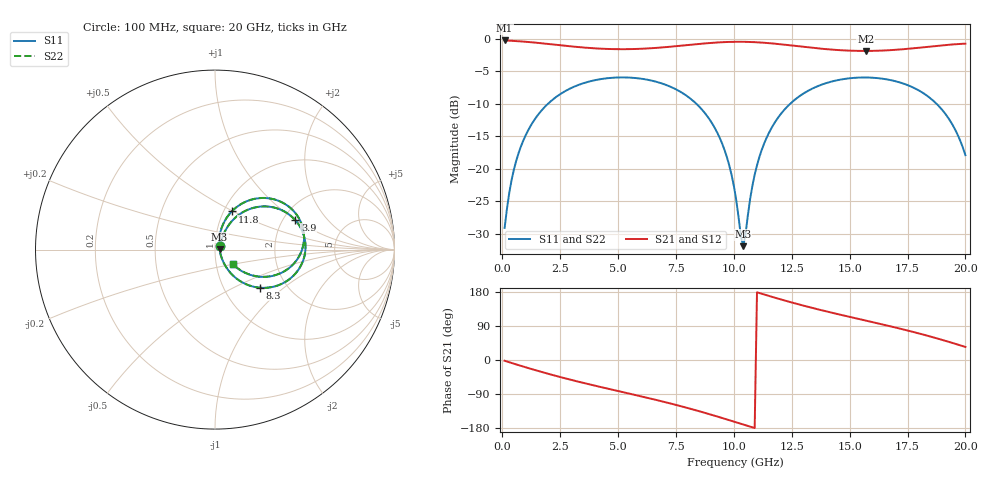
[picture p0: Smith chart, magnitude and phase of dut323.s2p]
! Touchstone file exported from HFSS 2026.1.0
!  File:  C:/ffzhzh/LocalFiles/Ansys_Project_Files/temp_train_TSV_RDL_323_1783032086_55676.aedt
!  Generated:  06:55:56 AM Jul  3, 2026
!  Design:  TSV_RDL
!  Project:  temp_train_TSV_RDL_323_1783032086_55676
! Variables:
!  h_bsmrdl = 2.13um
!  h_ox = 20um
!  h_rdl = 5um
!  h_sub = 76.68um
!  h_tmrdl = 4.74um
!  h_tsv = 76.68um
!  h_via = 3um
!  l_bsmrdl = 818.66um
!  l_sub = 5416.43um
!  l_tmrdl = 608.71um
!  m_sub = 200um
!  pitch = 46.92um
!  r_tsv = 9.34um
!  s_tmrdl = 10um
!  w_bsmrdl = 29.55um
!  w_sub = 500um
!  w_tmrdl = 12.32um
!  x_tsv_center1 = 614.87um
!  x_tsv_center2 = 1463.08um
!  x_tsv_center3 = 2084.11um
!  x_tsv_center4 = 2932.32um
!  x_tsv_center5 = 3553.35um
!  x_tsv_center6 = 4401.56um
# GHz S MA R 50.000000
! Terminal data exported
! Port[1] = TM_RDL1_1_T1
! Port[2] = TM_RDL5_1_T1
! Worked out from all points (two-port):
!   200 points, 100 MHz to 20 GHz, reference 50 ohm
!   highest |S21| = -0.26 dB at 100 MHz (marker M1); lowest = -1.9 dB at 15.7 GHz (marker M2)
!   |S21| within 3 dB of the highest: start of sweep to end of sweep
!   lowest |S11| = -31.9 dB at 10.4 GHz (marker M3), VSWR 1.05, Z = 52.6 + j0.367 ohm
!   |S11| at or under -10 dB: start of sweep to 1.97 GHz; 8.384 GHz to 12.43 GHz (4.046 GHz wide, 38.9 % of centre); 18.76 GHz to end of sweep
!   |S22| runs from -32.0 to -5.9 dB; largest |S21 - S12| = 1.6e-14
!   S11 on the Smith chart (normalised r, x): 100 MHz: 1.06, +0.04; 3.9 GHz: 2.32, +0.99; 8.3 GHz: 1.46, -0.70; 11.8 GHz: 1.09, +0.49; 20 GHz: 1.20, -0.20
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0.1  0.03521 32.0  0.9706 -2.0  0.9706 -2.0  0.03521 32.0
! Gamma 0 0 0 0
! Port Impedance 50 0 50 0
0.5  0.09869 60.7  0.9627 -9.8  0.9627 -9.8  0.09869 60.7
1.1  0.1954 58.6  0.9456 -20.9  0.9456 -20.9  0.1954 58.6
2.1  0.3319 45.5  0.9078 -38.4  0.9078 -38.4  0.3319 45.5
3.5  0.4553 25.7  0.8568 -60.4  0.8568 -60.4  0.4553 25.7
3.9  0.4762 20.2  0.8464 -66.3  0.8464 -66.3  0.4762 20.2
5.4  0.504 0.2  0.832 -87.5  0.832 -87.5  0.504 0.2
6.8  0.4591 -18.7  0.855 -107.7  0.855 -107.7  0.4591 -18.8
8.3  0.3265 -40.5  0.9058 -131.6  0.9058 -131.6  0.3265 -40.5
9.4  0.1717 -55.5  0.9391 -151.3  0.9391 -151.3  0.1717 -55.5
9.8  0.1068 -57.4  0.9458 -158.7  0.9458 -158.7  0.1067 -57.5
10.1  0.0581 -50.7  0.9481 -164.4  0.9481 -164.4  0.05802 -50.9
10.4  0.02549 7.9  0.9478 -170.1  0.9478 -170.1  0.02524 7.8
10.8  0.07401 70.3  0.9435 -177.7  0.9435 -177.7  0.0739 70.5
11  0.1066 72.9  0.9397 178.6  0.9397 178.6  0.1066 73.1
11.8  0.2319 66.3  0.9157 163.9  0.9157 163.9  0.2318 66.4
13.4  0.4151 43.4  0.8518 137.3  0.8518 137.3  0.415 43.5
15.7  0.5041 12.7  0.8064 104.0  0.8064 104.0  0.504 12.7
16.7  0.4841 -0.4  0.8165 89.8  0.8165 89.8  0.4841 -0.3
18.8  0.3107 -29.3  0.883 56.6  0.883 56.6  0.3107 -29.2
19.5  0.2095 -37.8  0.906 43.9  0.906 43.9  0.2095 -37.6
20  0.1277 -39.6  0.9171 34.5  0.9171 34.5  0.1278 -39.2
